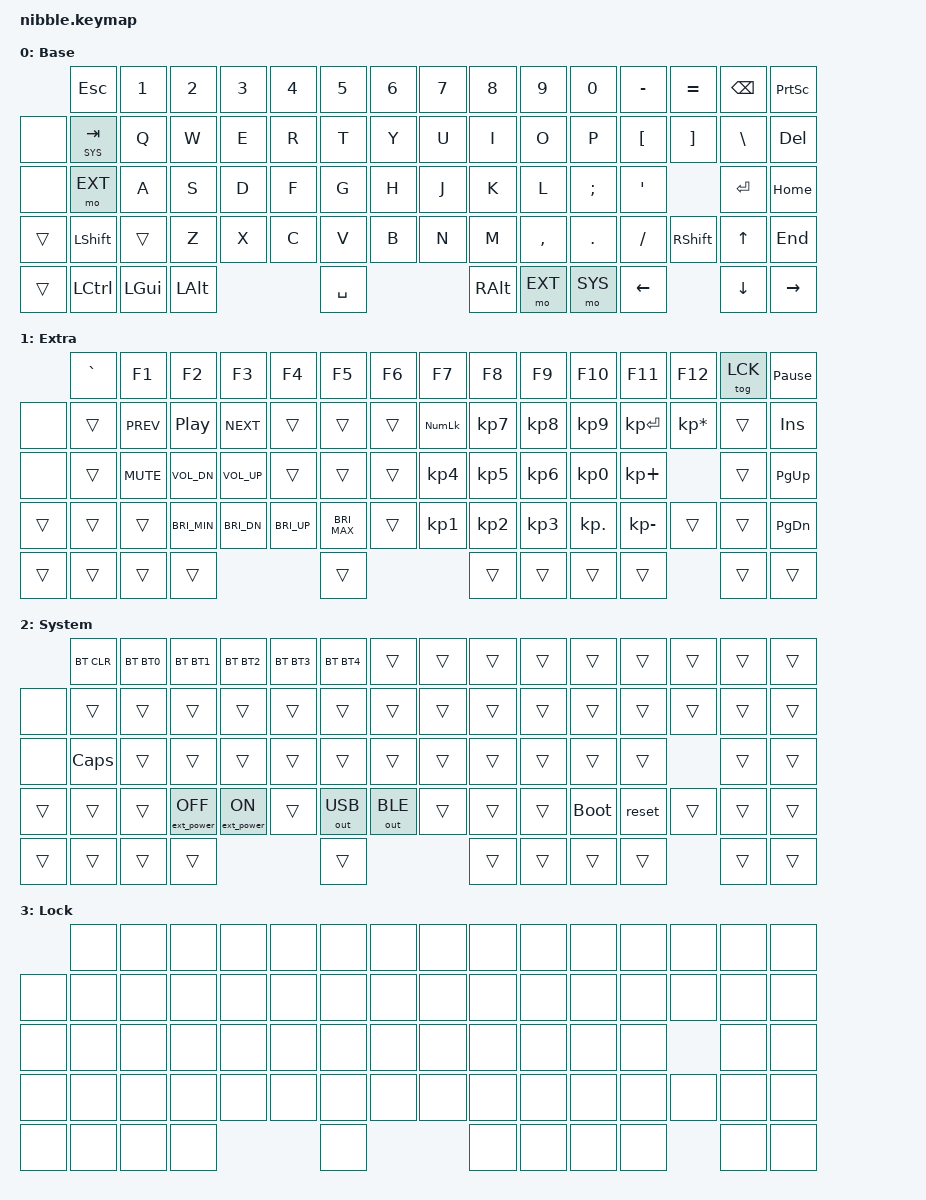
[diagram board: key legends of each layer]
/*
 * Copyright (c) 2020 The ZMK Contributors
 *
 * SPDX-License-Identifier: MIT
 */

#include <behaviors.dtsi>
#include <dt-bindings/zmk/keys.h>
#include <dt-bindings/zmk/bt.h>
#include <dt-bindings/zmk/ext_power.h>
#include <dt-bindings/zmk/outputs.h>

//--- Layer definition
#define BSE 0
#define EXT 1
#define SYS 2
#define LCK 3

//--- Bluetooth extra
#define BT0 BT_SEL 0
#define BT1 BT_SEL 1
#define BT2 BT_SEL 2
#define BT3 BT_SEL 3
#define BT4 BT_SEL 4


/ {
	behaviors {
        th: toggle_hold {
            compatible = "zmk,behavior-hold-tap";
            label = "TOGGLE_HOLD";
            #binding-cells = <2>;
            tapping-term-ms = <150>;
            quick_tap_ms = <0>;
            flavor = "tap-preferred";
            bindings = <&tog>, <&kp>;
        };
    };

    combos {
        compatible = "zmk,combos";
        combo_lock1 {
			timeout-ms = <10000>;
			// key-positions = <31 69>; // EXT + RCTRL
			// key-positions = <31 13>; // Left EXT + BACKSPACE
			key-positions = <32 13>; // Left EXT/Caps Lock + BACKSPACE
			layers = <3>;
			bindings = <&tog LCK>;
        };
		combo_lock2 {
			timeout-ms = <10000>;
			// key-positions = <31 69>; // EXT + RCTRL
			key-positions = <68 13>; // Bottom EXT + BACKSPACE
			layers = <3>;
			bindings = <&tog LCK>;
        };

    };
	
    keymap {
        compatible = "zmk,keymap";

        default_layer {
            label = "Base";

            bindings = <
            &kp ESC       &kp N1      &kp N2            &kp N3             &kp N4           &kp N5        &kp N6        &kp N7     &kp N8     &kp N9     &kp N0      &kp MINUS     &kp EQUAL        &kp BSPC  &kp PRINTSCREEN
&none       &lt SYS TAB   &kp Q       &kp W             &kp E              &kp R            &kp T         &kp Y         &kp U      &kp I      &kp O      &kp P       &kp LBKT      &kp RBKT         &kp BSLH  &kp DEL
&none       &mo EXT       &kp A       &kp S             &kp D              &kp F            &kp G         &kp H         &kp J      &kp K      &kp L      &kp SEMI    &kp SQT                        &kp RET   &kp HOME
&trans      &kp LSHFT     &trans      &kp Z             &kp X              &kp C            &kp V         &kp B         &kp N      &kp M      &kp COMMA  &kp DOT     &kp FSLH      &kp RSHFT        &kp UP    &kp END
&trans      &kp LCTRL     &kp LGUI    &kp LALT                                              &kp SPACE                              &kp RALT   &mo EXT    &mo SYS     &kp LEFT                       &kp DOWN  &kp RIGHT
            >;
        };
        extra_layer {
            label = "Extra";

            bindings = <
            &kp GRAVE     &kp F1      &kp F2            &kp F3             &kp F4           &kp F5        &kp F6        &kp F7     &kp F8     &kp F9    &kp F10      &kp F11       &kp F12          &tog LCK  &kp PAUSE_BREAK
&none       &trans        &kp C_PREV  &kp C_PP          &kp C_NEXT         &trans           &trans        &trans        &kp KP_NUM &kp KP_N7  &kp KP_N8 &kp KP_N9    &kp KP_ENTER  &kp KP_ASTERISK  &trans    &kp INS
&none       &trans        &kp C_MUTE  &kp C_VOL_DN      &kp C_VOL_UP       &trans           &trans        &trans        &kp KP_N4  &kp KP_N5  &kp KP_N6 &kp KP_N0    &kp KP_PLUS                    &trans    &kp PG_UP
&trans      &trans        &trans      &kp C_BRI_MIN     &kp C_BRI_DN       &kp C_BRI_UP     &kp C_BRI_MAX &trans        &kp KP_N1  &kp KP_N2  &kp KP_N3 &kp KP_DOT   &kp KP_MINUS  &trans           &trans    &kp PG_DN
&trans      &trans        &trans      &trans                                                &trans                                 &trans     &trans    &trans       &trans                         &trans    &trans
            >;
        };
        system_layer {
            label = "System";

            bindings = <
            &bt BT_CLR    &bt BT0     &bt BT1           &bt BT2            &bt BT3          &bt BT4       &trans        &trans     &trans     &trans    &trans       &trans        &trans      &trans    &trans
&none       &trans        &trans      &trans            &trans             &trans           &trans        &trans        &trans     &trans     &trans    &trans       &trans        &trans      &trans    &trans
&none       &kp CAPS      &trans      &trans            &trans             &trans           &trans        &trans        &trans     &trans     &trans    &trans       &trans                    &trans    &trans
&trans      &trans        &trans      &ext_power EP_OFF &ext_power EP_ON   &trans           &out OUT_USB  &out OUT_BLE  &trans     &trans     &trans    &bootloader  &reset        &trans      &trans    &trans
&trans      &trans        &trans      &trans                                                &trans                                 &trans     &trans    &trans       &trans                    &trans    &trans
            >;
        };
        lock_layer {
            label = "Lock";
            
            bindings = <
            &none         &none       &none             &none              &none            &none         &none         &none      &none      &none     &none        &none         &none       &none    &none
&none       &none         &none       &none             &none              &none            &none         &none         &none      &none      &none     &none        &none         &none       &none    &none
&none       &none         &none       &none             &none              &none            &none         &none         &none      &none      &none     &none        &none                     &none    &none
&none       &none         &none       &none             &none              &none            &none         &none         &none      &none      &none     &none        &none         &none       &none    &none
&none       &none         &none       &none                                                 &none                                  &none      &none     &none        &none                     &none    &none
            >;  
        };		
    };
};



/*
You can define a new behavior node like this, notice the bindings line. First one is for hold (kp), second one is for tap (tog):
/ {
    behaviors {
        th: toggle_hold {
            compatible = "zmk,behavior-hold-tap";
            label = "TOGGLE_HOLD";
            #binding-cells = <2>;
            tapping-term-ms = <150>;
            quick_tap_ms = <0>;
            flavor = "tap-preferred";
            bindings = <&kp>, <&tog>;
        };
    };
};
*/
